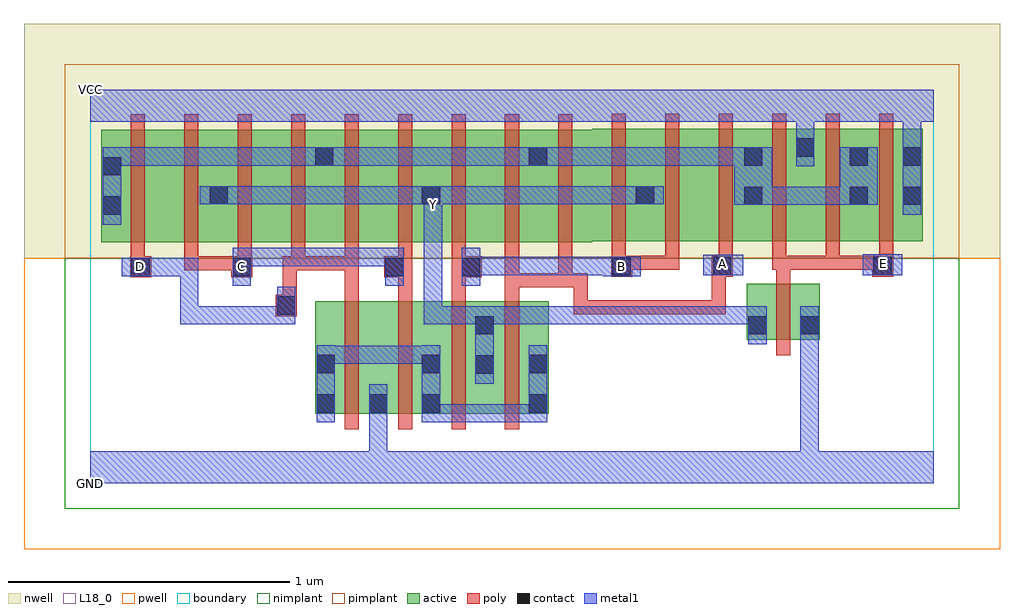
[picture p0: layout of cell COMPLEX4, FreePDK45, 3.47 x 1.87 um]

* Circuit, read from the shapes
.subckt COMPLEX4 A B C D E GND VCC Y
M1 GND D n1 VSUBS nfet w=0.4u l=0.05u
M2 n1 C GND VSUBS nfet w=0.4u l=0.05u
M3 Y B n1 VSUBS nfet w=0.4u l=0.05u
M4 n1 A Y VSUBS nfet w=0.4u l=0.05u
M5 GND E Y VSUBS nfet w=0.2u l=0.05u
M6 n2 D n3 n4 pfet w=0.4u l=0.05u
M7 Y C n2 n4 pfet w=0.4u l=0.05u
M8 n5 C Y n4 pfet w=0.4u l=0.05u
M9 n3 D n5 n4 pfet w=0.4u l=0.05u
M10 n6 D n3 n4 pfet w=0.4u l=0.05u
M11 Y C n6 n4 pfet w=0.4u l=0.05u
M12 n7 B Y n4 pfet w=0.4u l=0.05u
M13 n3 A n7 n4 pfet w=0.4u l=0.05u
M14 n8 A n3 n4 pfet w=0.4u l=0.05u
M15 Y B n8 n4 pfet w=0.4u l=0.05u
M16 n9 B Y n4 pfet w=0.4u l=0.05u
M17 n3 A n9 n4 pfet w=0.4u l=0.05u
M18 VCC E n3 n4 pfet w=0.4u l=0.05u m=3
.ends

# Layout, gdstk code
import gdstk
lib = gdstk.Library(unit=1e-6, precision=1e-09)
def R(c, l, rs):  # rectangles x0, y0, x1, y1
    for r in rs: c.add(gdstk.rectangle(r[:2], r[2:], *l))
def A(c, l, x, y, w, h, nx, ny, dx, dy):  # array of equal rectangles
    R(c, l, [(x+i*dx, y+j*dy, x+i*dx+w, y+j*dy+h) for i in range(nx) for j in range(ny)])
active = (1, 0)
pwell = (2, 0)
nwell = (3, 0)
nimplant = (4, 0)
pimplant = (5, 0)
poly = (9, 0)
contact = (10, 0)
metal1 = (11, 0)
L18_0 = (18, 0)
boundary = (235, 0)

complex4 = lib.new_cell('COMPLEX4')
A(complex4, active, 0.645, 0.857, 0.225, 0.4, 3, 1, 0.38, 0)
A(complex4, active, 0.795, 0.857, 0.23, 0.4, 3, 1, 0.38, 0)
R(complex4, active, [(0.8,0.247,0.875,0.647), (0.8,0.247,1.062,0.647), (0.987,0.247,1.25,0.647), (0.987,0.247,1.062,0.492), (1.175,0.247,1.44,0.647), (1.175,0.247,1.25,0.562), (1.365,0.247,1.63,0.647), (1.555,0.247,1.63,0.647), (1.365,0.332,1.44,0.6), (2.335,0.51,2.41,0.71), (2.335,0.51,2.595,0.71), (2.52,0.51,2.595,0.71), (0.04,0.857,0.265,1.257), (0.04,0.857,0.145,1.2), (0.265,0.857,0.495,1.257), (0.42,0.857,0.645,1.257), (0.42,0.857,0.495,1.07), (0.795,0.857,0.87,1.2), (1.175,0.857,1.25,1.07), (1.555,0.857,1.63,1.2), (1.785,0.86,2.01,1.26), (1.935,0.86,2.165,1.26), (1.935,0.86,2.01,1.07), (2.165,0.86,2.395,1.26), (2.32,0.86,2.395,1.2), (2.32,0.86,2.58,1.26), (2.505,0.86,2.58,1.26), (2.505,0.86,2.77,1.26), (2.695,0.86,2.96,1.26), (2.695,0.86,2.77,1.2), (2.885,0.86,2.96,1.26)])
R(complex4, pwell, [(-0.235,-0.235,3.235,0.8)])
R(complex4, nwell, [(-0.235,0.8,3.235,1.635)])
R(complex4, nimplant, [(-0.09,-0.09,3.09,0.8)])
R(complex4, pimplant, [(-0.09,0.8,3.09,1.49)])
A(complex4, poly, 0.905, 0.192, 0.05, 0.51, 4, 1, 0.19, 0)
A(complex4, poly, 0.145, 0.757, 0.05, 0.095, 7, 1, 0.19, 0)
A(complex4, poly, 1.855, 0.76, 0.05, 0.095, 6, 1, 0.19, 0)
A(complex4, poly, 0.145, 0.802, 0.05, 0.51, 9, 1, 0.19, 0)
A(complex4, poly, 1.855, 0.805, 0.05, 0.51, 6, 1, 0.19, 0)
R(complex4, poly, [(2.44,0.455,2.49,0.765), (0.66,0.595,0.735,0.67), (1.72,0.602,1.847,0.652), (1.72,0.602,1.77,0.747), (1.797,0.602,1.847,0.652), (1.797,0.602,2.127,0.652), (2.077,0.602,2.127,0.652), (2.077,0.602,2.127,0.652), (2.077,0.602,2.127,0.652), (2.077,0.602,2.26,0.652), (2.21,0.602,2.26,0.652), (2.21,0.602,2.26,0.652), (2.21,0.602,2.26,0.652), (2.21,0.602,2.26,0.652), (2.21,0.602,2.26,0.652), (2.21,0.602,2.26,0.785), (0.685,0.62,0.735,0.807), (0.905,0.652,0.955,0.807), (1.095,0.652,1.145,0.782), (1.285,0.652,1.335,0.782), (1.475,0.652,1.525,0.747), (1.475,0.697,1.525,0.747), (1.475,0.697,1.525,0.747), (1.475,0.697,1.525,0.747), (1.475,0.697,1.525,0.852), (1.475,0.697,1.715,0.747), (1.665,0.697,1.715,0.747), (1.665,0.697,1.715,0.747), (1.665,0.697,1.715,0.747), (1.665,0.697,1.715,0.747), (1.665,0.697,1.715,0.747), (1.665,0.697,1.77,0.747), (1.665,0.697,1.715,0.852), (2.44,0.715,2.49,0.81), (0.142,0.732,0.217,0.807), (0.502,0.732,0.577,0.807), (1.045,0.732,1.145,0.807), (1.285,0.732,1.392,0.807), (1.852,0.735,1.927,0.81), (2.21,0.735,2.285,0.81), (2.78,0.735,2.855,0.81), (0.335,0.757,0.385,0.807), (0.335,0.757,0.552,0.807), (0.502,0.757,0.552,0.807), (0.502,0.757,0.552,0.807), (0.685,0.757,0.75,0.807), (0.7,0.757,0.75,0.807), (0.7,0.757,0.765,0.807), (0.715,0.757,0.765,0.807), (0.715,0.757,0.765,0.807), (0.715,0.757,0.955,0.807), (0.905,0.757,0.955,0.807), (1.877,0.76,1.927,0.81), (1.877,0.76,1.927,0.81), (1.877,0.76,2.095,0.81), (2.045,0.76,2.095,0.81), (2.425,0.76,2.49,0.81), (2.44,0.76,2.665,0.81), (2.615,0.76,2.665,0.81), (2.615,0.76,2.665,0.81), (2.615,0.76,2.665,0.81), (2.615,0.76,2.83,0.81), (2.78,0.76,2.83,0.81), (2.78,0.76,2.83,0.81)])
R(complex4, contact, [(0.805,0.252,0.87,0.317), (0.992,0.252,1.057,0.317), (1.18,0.252,1.245,0.317), (1.56,0.252,1.625,0.317), (1.37,0.39,1.435,0.455), (0.805,0.392,0.87,0.457), (1.18,0.392,1.245,0.457), (1.56,0.392,1.625,0.457), (1.37,0.53,1.435,0.595), (2.34,0.53,2.405,0.595), (2.525,0.53,2.59,0.595), (0.665,0.6,0.73,0.665), (0.147,0.737,0.212,0.802), (0.507,0.737,0.572,0.802), (1.05,0.737,1.115,0.802), (1.322,0.737,1.387,0.802), (1.857,0.74,1.922,0.805), (2.215,0.74,2.28,0.805), (2.785,0.74,2.85,0.805), (0.045,0.955,0.11,1.02), (2.325,0.99,2.39,1.055), (2.7,0.99,2.765,1.055), (2.89,0.99,2.955,1.055), (0.425,0.992,0.49,1.057), (1.18,0.992,1.245,1.057), (1.94,0.992,2.005,1.057), (0.045,1.095,0.11,1.16), (0.8,1.13,0.865,1.195), (1.56,1.13,1.625,1.195), (2.325,1.13,2.39,1.195), (2.7,1.13,2.765,1.195), (2.89,1.13,2.955,1.195), (2.51,1.162,2.575,1.227)])
R(complex4, metal1, [(0,0,3,0.115), (0.992,0.05,1.057,0.115), (0.992,0.05,1.057,0.115), (0.992,0.05,1.057,0.282), (2.525,0.05,2.59,0.56), (0.805,0.217,0.87,0.492), (0.992,0.217,1.057,0.282), (0.992,0.217,1.057,0.282), (0.992,0.217,1.057,0.352), (1.18,0.217,1.245,0.492), (1.18,0.217,1.417,0.282), (1.352,0.217,1.417,0.282), (1.352,0.217,1.417,0.282), (1.352,0.217,1.417,0.282), (1.352,0.217,1.595,0.282), (1.53,0.217,1.595,0.282), (1.53,0.217,1.625,0.282), (1.56,0.217,1.625,0.492), (1.37,0.355,1.435,0.63), (0.805,0.425,0.87,0.49), (0.805,0.425,0.87,0.49), (0.805,0.425,1.072,0.49), (1.007,0.425,1.072,0.49), (1.007,0.425,1.072,0.49), (1.007,0.425,1.072,0.49), (1.007,0.425,1.245,0.49), (1.18,0.425,1.245,0.49), (1.18,0.425,1.245,0.49), (2.34,0.495,2.405,0.63), (2.525,0.495,2.59,0.56), (2.525,0.495,2.59,0.56), (2.525,0.495,2.59,0.56), (2.525,0.495,2.59,0.56), (2.525,0.495,2.59,0.56), (2.525,0.495,2.59,0.56), (2.525,0.495,2.59,0.56), (2.525,0.495,2.59,0.56), (2.525,0.495,2.59,0.63), (0.32,0.565,0.385,0.63), (0.32,0.565,0.522,0.63), (0.32,0.565,0.385,0.802), (0.457,0.565,0.522,0.63), (0.457,0.565,0.672,0.63), (0.607,0.565,0.672,0.63), (0.607,0.565,0.672,0.63), (0.607,0.565,0.672,0.63), (0.607,0.565,0.73,0.63), (0.665,0.565,0.73,0.7), (1.187,0.565,1.252,0.63), (1.187,0.565,1.435,0.63), (1.187,0.565,1.252,0.987), (1.37,0.565,1.435,0.63), (1.37,0.565,1.435,0.63), (1.37,0.565,1.595,0.63), (1.53,0.565,1.595,0.63), (1.53,0.565,1.595,0.63), (1.53,0.565,1.595,0.63), (1.53,0.565,1.732,0.63), (1.667,0.565,1.732,0.63), (1.667,0.565,1.822,0.63), (1.757,0.565,1.822,0.63), (1.757,0.565,1.97,0.63), (1.905,0.565,1.97,0.63), (1.905,0.565,1.97,0.63), (1.905,0.565,1.97,0.63), (1.905,0.565,2.107,0.63), (2.042,0.565,2.245,0.63), (2.042,0.565,2.107,0.63), (2.042,0.565,2.107,0.63), (2.042,0.565,2.107,0.63), (2.18,0.565,2.245,0.63), (2.18,0.565,2.405,0.63), (0.507,0.702,0.572,0.837), (1.05,0.702,1.115,0.837), (1.322,0.702,1.387,0.837), (0.112,0.737,0.247,0.802), (0.182,0.737,0.385,0.802), (0.182,0.737,0.247,0.802), (0.182,0.737,0.247,0.802), (0.32,0.737,0.385,0.802), (0.32,0.737,0.385,0.802), (0.32,0.737,0.385,0.802), (1.822,0.737,1.957,0.805), (1.322,0.74,1.417,0.805), (1.352,0.74,1.417,0.805), (1.352,0.74,1.595,0.805), (1.53,0.74,1.595,0.805), (1.53,0.74,1.595,0.805), (1.53,0.74,1.595,0.805), (1.53,0.74,1.732,0.805), (1.667,0.74,1.732,0.805), (1.667,0.74,1.797,0.805), (1.732,0.74,1.797,0.805), (1.732,0.74,1.887,0.805), (2.18,0.74,2.322,0.812), (2.747,0.74,2.887,0.815), (0.507,0.772,0.692,0.837), (0.627,0.772,0.692,0.837), (0.627,0.772,0.732,0.837), (0.667,0.772,0.87,0.837), (0.667,0.772,0.732,0.837), (0.805,0.772,0.87,0.837), (0.805,0.772,0.87,0.837), (0.805,0.772,0.87,0.837), (0.805,0.772,1.072,0.837), (1.007,0.772,1.072,0.837), (1.007,0.772,1.115,0.837), (0.045,0.92,0.11,1.195), (1.187,0.922,1.252,1.057), (2.89,0.955,2.955,1.23), (2.29,0.99,2.425,1.195), (2.36,0.99,2.425,1.055), (2.36,0.99,2.425,1.055), (2.36,0.99,2.592,1.055), (2.527,0.99,2.73,1.055), (2.527,0.99,2.592,1.055), (2.527,0.99,2.592,1.055), (2.527,0.99,2.592,1.055), (2.665,0.99,2.8,1.195), (0.39,0.992,0.525,1.057), (0.46,0.992,0.525,1.057), (0.46,0.992,0.525,1.057), (0.46,0.992,0.672,1.057), (0.607,0.992,0.672,1.057), (0.607,0.992,0.732,1.057), (0.667,0.992,0.87,1.057), (0.667,0.992,0.732,1.057), (0.805,0.992,0.87,1.057), (0.805,0.992,0.87,1.057), (0.805,0.992,0.87,1.057), (0.805,0.992,1.037,1.057), (0.972,0.992,1.037,1.057), (0.972,0.992,1.037,1.057), (0.972,0.992,1.037,1.057), (0.972,0.992,1.21,1.057), (1.145,0.992,1.28,1.057), (1.187,0.992,1.252,1.057), (1.215,0.992,1.417,1.057), (1.352,0.992,1.417,1.057), (1.352,0.992,1.417,1.057), (1.352,0.992,1.417,1.057), (1.352,0.992,1.572,1.057), (1.507,0.992,1.572,1.057), (1.507,0.992,1.572,1.057), (1.507,0.992,1.572,1.057), (1.507,0.992,1.732,1.057), (1.667,0.992,1.732,1.057), (1.667,0.992,1.832,1.057), (1.767,0.992,1.97,1.057), (1.767,0.992,1.832,1.057), (1.905,0.992,1.97,1.057), (1.905,0.992,1.97,1.057), (1.905,0.992,2.04,1.057), (2.51,1.127,2.575,1.262), (0.045,1.13,0.11,1.195), (0.045,1.13,0.11,1.195), (0.045,1.13,0.247,1.195), (0.182,1.13,0.385,1.195), (0.182,1.13,0.247,1.195), (0.182,1.13,0.247,1.195), (0.182,1.13,0.247,1.195), (0.32,1.13,0.385,1.195), (0.32,1.13,0.535,1.195), (0.47,1.13,0.535,1.195), (0.47,1.13,0.535,1.195), (0.47,1.13,0.535,1.195), (0.47,1.13,0.692,1.195), (0.627,1.13,0.692,1.195), (0.627,1.13,0.71,1.195), (0.645,1.13,0.71,1.195), (0.645,1.13,0.83,1.195), (0.765,1.13,0.9,1.195), (0.835,1.13,0.9,1.195), (0.835,1.13,0.9,1.195), (0.835,1.13,1.037,1.195), (0.972,1.13,1.037,1.195), (0.972,1.13,1.21,1.195), (1.145,1.13,1.21,1.195), (1.145,1.13,1.21,1.195), (1.145,1.13,1.21,1.195), (1.145,1.13,1.417,1.195), (1.352,1.13,1.417,1.195), (1.352,1.13,1.417,1.195), (1.352,1.13,1.417,1.195), (1.352,1.13,1.59,1.195), (1.525,1.13,1.59,1.195), (1.525,1.13,1.59,1.195), (1.525,1.13,1.66,1.195), (1.595,1.13,1.732,1.195), (1.667,1.13,1.732,1.195), (1.667,1.13,1.832,1.195), (1.767,1.13,1.97,1.195), (1.767,1.13,1.832,1.195), (1.905,1.13,1.97,1.195), (1.905,1.13,1.97,1.195), (1.905,1.13,1.97,1.195), (1.905,1.13,2.107,1.195), (2.042,1.13,2.107,1.195), (2.042,1.13,2.177,1.195), (2.112,1.13,2.177,1.195), (2.112,1.13,2.177,1.195), (2.112,1.13,2.177,1.195), (2.112,1.13,2.287,1.195), (2.222,1.13,2.287,1.195), (2.222,1.13,2.355,1.195), (2.89,1.165,2.955,1.35), (2.51,1.197,2.575,1.35), (0,1.285,3,1.4)])
R(complex4, L18_0, [(0,0,3,0.115), (0.992,0.05,1.057,0.115), (0.992,0.05,1.057,0.115), (0.992,0.05,1.057,0.282), (2.525,0.05,2.59,0.56), (0.992,0.217,1.057,0.282), (0.992,0.217,1.057,0.282), (0.992,0.217,1.057,0.352), (1.37,0.355,1.435,0.63), (2.34,0.495,2.405,0.63), (2.525,0.495,2.59,0.56), (2.525,0.495,2.59,0.56), (2.525,0.495,2.59,0.56), (2.525,0.495,2.59,0.56), (2.525,0.495,2.59,0.56), (2.525,0.495,2.59,0.56), (2.525,0.495,2.59,0.56), (2.525,0.495,2.59,0.56), (2.525,0.495,2.59,0.63), (0.32,0.565,0.385,0.63), (0.32,0.565,0.385,0.802), (0.32,0.565,0.522,0.63), (0.457,0.565,0.522,0.63), (0.457,0.565,0.672,0.63), (0.607,0.565,0.672,0.63), (0.607,0.565,0.672,0.63), (0.607,0.565,0.672,0.63), (0.607,0.565,0.73,0.63), (0.665,0.565,0.73,0.7), (1.187,0.565,1.252,0.63), (1.187,0.565,1.252,0.987), (1.187,0.565,1.435,0.63), (1.37,0.565,1.435,0.63), (1.37,0.565,1.435,0.63), (1.37,0.565,1.595,0.63), (1.53,0.565,1.595,0.63), (1.53,0.565,1.595,0.63), (1.53,0.565,1.595,0.63), (1.53,0.565,1.732,0.63), (1.667,0.565,1.732,0.63), (1.667,0.565,1.822,0.63), (1.757,0.565,1.822,0.63), (1.757,0.565,1.97,0.63), (1.905,0.565,1.97,0.63), (1.905,0.565,1.97,0.63), (1.905,0.565,1.97,0.63), (1.905,0.565,2.107,0.63), (2.042,0.565,2.107,0.63), (2.042,0.565,2.107,0.63), (2.042,0.565,2.107,0.63), (2.042,0.565,2.245,0.63), (2.18,0.565,2.245,0.63), (2.18,0.565,2.405,0.63), (0.507,0.702,0.572,0.837), (1.05,0.702,1.115,0.837), (1.322,0.702,1.387,0.837), (0.112,0.737,0.247,0.802), (0.147,0.737,0.212,0.802), (0.182,0.737,0.247,0.802), (0.182,0.737,0.247,0.802), (0.182,0.737,0.385,0.802), (0.32,0.737,0.385,0.802), (0.32,0.737,0.385,0.802), (0.32,0.737,0.385,0.802), (0.507,0.737,0.572,0.802), (1.822,0.737,1.957,0.805), (1.857,0.737,1.922,0.802), (1.322,0.74,1.417,0.805), (1.352,0.74,1.417,0.805), (1.352,0.74,1.595,0.805), (1.53,0.74,1.595,0.805), (1.53,0.74,1.595,0.805), (1.53,0.74,1.595,0.805), (1.53,0.74,1.732,0.805), (1.667,0.74,1.732,0.805), (1.667,0.74,1.797,0.805), (1.732,0.74,1.797,0.805), (1.732,0.74,1.887,0.805), (2.18,0.74,2.322,0.812), (2.747,0.74,2.887,0.815), (2.217,0.747,2.282,0.812), (2.787,0.747,2.852,0.812), (0.507,0.772,0.692,0.837), (0.627,0.772,0.692,0.837), (0.627,0.772,0.732,0.837), (0.667,0.772,0.732,0.837), (0.667,0.772,0.87,0.837), (0.805,0.772,0.87,0.837), (0.805,0.772,0.87,0.837), (0.805,0.772,0.87,0.837), (0.805,0.772,1.072,0.837), (1.007,0.772,1.072,0.837), (1.007,0.772,1.115,0.837), (1.187,0.922,1.252,1.057), (2.89,0.955,2.955,1.23), (1.187,0.957,1.252,1.022), (0.39,0.992,0.525,1.057), (0.46,0.992,0.525,1.057), (0.46,0.992,0.525,1.057), (0.46,0.992,0.672,1.057), (0.607,0.992,0.672,1.057), (0.607,0.992,0.732,1.057), (0.667,0.992,0.732,1.057), (0.667,0.992,0.87,1.057), (0.805,0.992,0.87,1.057), (0.805,0.992,0.87,1.057), (0.805,0.992,0.87,1.057), (0.805,0.992,1.037,1.057), (0.972,0.992,1.037,1.057), (0.972,0.992,1.037,1.057), (0.972,0.992,1.037,1.057), (0.972,0.992,1.21,1.057), (1.145,0.992,1.28,1.057), (1.187,0.992,1.252,1.057), (1.215,0.992,1.417,1.057), (1.352,0.992,1.417,1.057), (1.352,0.992,1.417,1.057), (1.352,0.992,1.417,1.057), (1.352,0.992,1.572,1.057), (1.507,0.992,1.572,1.057), (1.507,0.992,1.572,1.057), (1.507,0.992,1.572,1.057), (1.507,0.992,1.732,1.057), (1.667,0.992,1.732,1.057), (1.667,0.992,1.832,1.057), (1.767,0.992,1.832,1.057), (1.767,0.992,1.97,1.057), (1.905,0.992,2.04,1.057), (1.905,0.992,1.97,1.057), (1.905,0.992,1.97,1.057), (2.51,1.127,2.575,1.262), (2.89,1.165,2.955,1.35), (2.51,1.197,2.575,1.35), (0,1.285,3,1.4)])
R(complex4, boundary, [(0,0,3,1.4)])
complex4.add(gdstk.Label('A', (2.25,0.78), layer=11, texttype=0))
complex4.add(gdstk.Label('B', (1.89,0.77), layer=11, texttype=0))
complex4.add(gdstk.Label('C', (0.54,0.77), layer=11, texttype=0))
complex4.add(gdstk.Label('D', (0.18,0.77), layer=11, texttype=0))
complex4.add(gdstk.Label('E', (2.82,0.78), layer=11, texttype=0))
complex4.add(gdstk.Label('Y', (1.22,0.99), layer=11, texttype=0))
complex4.add(gdstk.Label('VCC', (0,1.4), layer=11, texttype=0))
complex4.add(gdstk.Label('GND', (0,0), layer=11, texttype=0))

lib.write_gds('COMPLEX4.gds')
